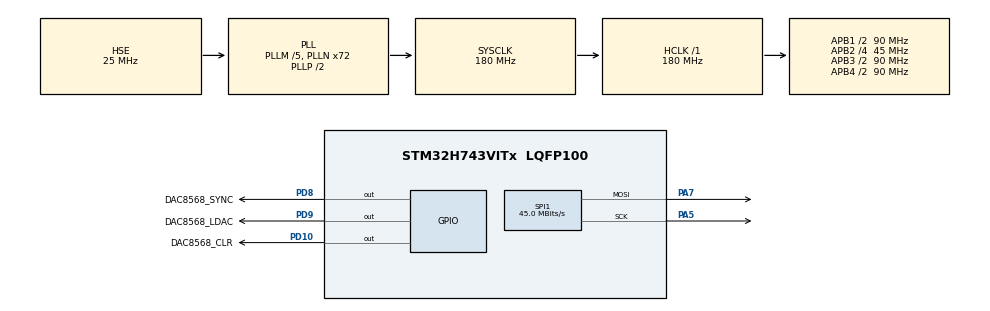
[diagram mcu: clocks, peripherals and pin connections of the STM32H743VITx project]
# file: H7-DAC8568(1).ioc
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CORTEX_M7.default_mode_Activation=0
Mcu.Family=STM32H7
Mcu.Name=STM32H743VITx
Mcu.Package=LQFP100
NVIC.PriorityGroup=NVIC_PRIORITYGROUP_4
PA13\ (JTMS/SWDIO).Mode=Serial_Wire
PA13\ (JTMS/SWDIO).Signal=DEBUG_JTMS-SWDIO
PA14\ (JTCK/SWCLK).Mode=Serial_Wire
PA14\ (JTCK/SWCLK).Signal=DEBUG_JTCK-SWCLK
PA5.GPIO_Speed=GPIO_SPEED_FREQ_VERY_HIGH
PA5.Mode=TX_Only_Simplex_Unidirect_Master
PA5.Signal=SPI1_SCK
PA7.GPIO_Speed=GPIO_SPEED_FREQ_VERY_HIGH
PA7.Mode=TX_Only_Simplex_Unidirect_Master
PA7.Signal=SPI1_MOSI
PD10.GPIO_Label=DAC8568_CLR
PD10.GPIO_Speed=GPIO_SPEED_FREQ_VERY_HIGH
PD10.PinState=GPIO_PIN_RESET
PD10.Signal=GPIO_Output
PD8.GPIO_Label=DAC8568_SYNC
PD8.GPIO_Speed=GPIO_SPEED_FREQ_VERY_HIGH
PD8.PinState=GPIO_PIN_RESET
PD8.Signal=GPIO_Output
PD9.GPIO_Label=DAC8568_LDAC
PD9.GPIO_Speed=GPIO_SPEED_FREQ_VERY_HIGH
PD9.PinState=GPIO_PIN_RESET
PD9.Signal=GPIO_Output
PH0-OSC_IN\ (PH0).Mode=HSE-External-Oscillator
PH0-OSC_IN\ (PH0).Signal=RCC_OSC_IN
PH1-OSC_OUT\ (PH1).Mode=HSE-External-Oscillator
PH1-OSC_OUT\ (PH1).Signal=RCC_OSC_OUT
ProjectManager.HeapSize=0x400
ProjectManager.StackSize=0x1500
ProjectManager.TargetToolchain=MDK-ARM V5.32
RCC.ADCFreq_Value=50390625
RCC.APB1Freq_Value=90000000
RCC.APB2Freq_Value=45000000
RCC.APB3Freq_Value=90000000
RCC.APB4Freq_Value=90000000
RCC.CortexFreq_Value=180000000
RCC.D1PPRE=RCC_APB3_DIV2
RCC.D2PPRE1=RCC_APB1_DIV2
RCC.D2PPRE2=RCC_APB2_DIV4
RCC.D3PPRE=RCC_APB4_DIV2
RCC.DIVM1=5
RCC.DIVN1=72
RCC.DIVQ1=4
RCC.DIVR1=12
RCC.HCLKFreq_Value=180000000
RCC.PLL2FRACN=0
RCC.PLL3FRACN=0
RCC.PLLFRACN=0
RCC.PLLSourceVirtual=RCC_PLLSOURCE_HSE
RCC.SYSCLKFreq_VALUE=180000000
RCC.SYSCLKSource=RCC_SYSCLKSOURCE_PLLCLK
RCC.USBFreq_Value=90000000
SPI1.BaudRatePrescaler=SPI_BAUDRATEPRESCALER_2
SPI1.CLKPhase=SPI_PHASE_2EDGE
SPI1.CalculateBaudRate=45.0 MBits/s
SPI1.DataSize=SPI_DATASIZE_8BIT
SPI1.Direction=SPI_DIRECTION_2LINES_TXONLY
SPI1.Mode=SPI_MODE_MASTER
SPI1.NSSPMode=SPI_NSS_PULSE_DISABLE
SPI1.VirtualType=VM_MASTER
VP_MEMORYMAP_VS_MEMORYMAP.Mode=CurAppReg
board=custom

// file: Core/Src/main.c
/* USER CODE BEGIN Header */
/**
  ******************************************************************************
  * @file           : main.c
  * @brief          : Main program body
  ******************************************************************************
  * @attention
  *
  * Copyright (c) 2025 STMicroelectronics.
  * All rights reserved.
  *
  * This software is licensed under terms that can be found in the LICENSE file
  * in the root directory of this software component.
  * If no LICENSE file comes with this software, it is provided AS-IS.
  *
  ******************************************************************************
  */
/* USER CODE END Header */
#include "main.h"
#include "memorymap.h"
#include "spi.h"
#include "gpio.h"

/* USER CODE BEGIN Includes */
#include "dac8568.h"
#include <stdio.h>
/* USER CODE END Includes */

/* USER CODE BEGIN PV */
		// 在main.c中添加测试代码
uint8_t test_data[4] = {0x12,0x34,0x56,0x78};
/* USER CODE END PV */

void SystemClock_Config(void);
/* USER CODE BEGIN PFP */
void SPI_Test(void);
/* USER CODE END PFP */

int main(void)
{

  /* MCU Configuration--------------------------------------------------------*/

  /* Reset of all peripherals, Initializes the Flash interface and the Systick. */
  HAL_Init();

  /* Configure the system clock */
  SystemClock_Config();

  /* Initialize all configured peripherals */
  MX_GPIO_Init();
  MX_SPI1_Init();
  /* USER CODE BEGIN 2 */
	__HAL_SPI_ENABLE(&hspi1);
//	SPI_Test();
#if DAC8568_VERSION
  /* ��ȡ�������� ��10V���Ҳ� */
  double data_wave[500] = {0};
  double temp_f = 2 * 3.1415926535 / (sizeof(data_wave) / sizeof(double));
  for (int i = 0; i < sizeof(data_wave) / sizeof(double); i++) {
    data_wave[i] = MAX_VOLTAGE * sin(temp_f * i);
  }
#else
  /* ��ȡ�������� ��5V���Ҳ� */
  double data_wave[500] = {0};
  double temp_f = 2 * 3.1415926535 / (sizeof(data_wave) / sizeof(double));
  for (int i = 0; i < sizeof(data_wave) / sizeof(double); i++) {
    data_wave[i] = MAX_VOLTAGE * sin(temp_f * i);
  }
#endif
  DAC8568_Init();
  DAC8568_Reset();
  DAC8568_Internal_Reference_Config(true);
#if DAC8568_VERSION
  /* ͨ��A���10V��ѹ */
  DAC8568_Set_Direct_Current(DAC_Channel_A, MAX_VOLTAGE);
#else
  /* ͨ��A���5V��ѹ */
  DAC8568_Set_Direct_Current(DAC_Channel_A, MAX_VOLTAGE);

#endif
  /* USER CODE END 2 */

  /* Infinite loop */
  /* USER CODE BEGIN WHILE */
  while (1)
  {
DAC8568_Set_Channel_Wave(DAC_Channel_B, data_wave,
                             sizeof(data_wave) / sizeof(double));

//  HAL_GPIO_WritePin(DAC8568_SYNC_GPIO_Port, DAC8568_SYNC_Pin, GPIO_PIN_RESET);
//  HAL_SPI_Transmit(&hspi1, test_data, 4, 100);
//  HAL_GPIO_WritePin(DAC8568_SYNC_GPIO_Port, DAC8568_SYNC_Pin, GPIO_PIN_SET);
//  HAL_Delay(1); // 添加可见间隔

    /* USER CODE END WHILE */

  }
}

void SystemClock_Config(void)
{
  RCC_OscInitTypeDef RCC_OscInitStruct = {0};
  RCC_ClkInitTypeDef RCC_ClkInitStruct = {0};

  /** Supply configuration update enable
  */
  HAL_PWREx_ConfigSupply(PWR_LDO_SUPPLY);

  /** Configure the main internal regulator output voltage
  */
  __HAL_PWR_VOLTAGESCALING_CONFIG(PWR_REGULATOR_VOLTAGE_SCALE3);

  while(!__HAL_PWR_GET_FLAG(PWR_FLAG_VOSRDY)) {}

  /** Initializes the RCC Oscillators according to the specified parameters
  * in the RCC_OscInitTypeDef structure.
  */
  RCC_OscInitStruct.OscillatorType = RCC_OSCILLATORTYPE_HSE;
  RCC_OscInitStruct.HSEState = RCC_HSE_ON;
  RCC_OscInitStruct.PLL.PLLState = RCC_PLL_ON;
  RCC_OscInitStruct.PLL.PLLSource = RCC_PLLSOURCE_HSE;
  RCC_OscInitStruct.PLL.PLLM = 5;
  RCC_OscInitStruct.PLL.PLLN = 72;
  RCC_OscInitStruct.PLL.PLLP = 2;
  RCC_OscInitStruct.PLL.PLLQ = 4;
  RCC_OscInitStruct.PLL.PLLR = 12;
  RCC_OscInitStruct.PLL.PLLRGE = RCC_PLL1VCIRANGE_2;
  RCC_OscInitStruct.PLL.PLLVCOSEL = RCC_PLL1VCOWIDE;
  RCC_OscInitStruct.PLL.PLLFRACN = 0;
  if (HAL_RCC_OscConfig(&RCC_OscInitStruct) != HAL_OK)
  {
    Error_Handler();
  }

  /** Initializes the CPU, AHB and APB buses clocks
  */
  RCC_ClkInitStruct.ClockType = RCC_CLOCKTYPE_HCLK|RCC_CLOCKTYPE_SYSCLK
                              |RCC_CLOCKTYPE_PCLK1|RCC_CLOCKTYPE_PCLK2
                              |RCC_CLOCKTYPE_D3PCLK1|RCC_CLOCKTYPE_D1PCLK1;
  RCC_ClkInitStruct.SYSCLKSource = RCC_SYSCLKSOURCE_PLLCLK;
  RCC_ClkInitStruct.SYSCLKDivider = RCC_SYSCLK_DIV1;
  RCC_ClkInitStruct.AHBCLKDivider = RCC_HCLK_DIV1;
  RCC_ClkInitStruct.APB3CLKDivider = RCC_APB3_DIV2;
  RCC_ClkInitStruct.APB1CLKDivider = RCC_APB1_DIV2;
  RCC_ClkInitStruct.APB2CLKDivider = RCC_APB2_DIV4;
  RCC_ClkInitStruct.APB4CLKDivider = RCC_APB4_DIV2;

  if (HAL_RCC_ClockConfig(&RCC_ClkInitStruct, FLASH_LATENCY_3) != HAL_OK)
  {
    Error_Handler();
  }
}

/* USER CODE BEGIN 4 */
//void SPI_Test(void)
//{
//    uint8_t test_data[4] = {0xAA, 0x55, 0xAA, 0x55};
//
//    printf("--- SPI Test Start ---\r\n");
//    printf("SPI1->CR1: 0x%08lX\r\n", SPI1->CR1);
//    printf("SPI1->SR: 0x%08lX\r\n", SPI1->SR);
//
//    while(1) {
//        // 手动控制SYNC（片选）
//        HAL_GPIO_WritePin(DAC8568_SYNC_GPIO_Port, DAC8568_SYNC_Pin, GPIO_PIN_RESET);
//
//        // 检查SPI状态
//        if (hspi1.State != HAL_SPI_STATE_READY) {
//            printf("SPI Busy! State: %d\r\n", hspi1.State);
//        }
//
//        // 发送测试数据
//        HAL_StatusTypeDef status = HAL_SPI_Transmit(&hspi1, test_data, 4, 100);
//
//        if (status != HAL_OK) {
//            printf("SPI Error: %d, ErrorCode: 0x%08lX\r\n", status, hspi1.ErrorCode);
//        }
//
//        // 释放片选
//        HAL_GPIO_WritePin(DAC8568_SYNC_GPIO_Port, DAC8568_SYNC_Pin, GPIO_PIN_SET);
//
//        // 延时便于观察
//        HAL_Delay(10);
//
//        // 显示传输计数
//        static uint32_t counter = 0;
//        if ((counter++ % 100) == 0) {
//            printf("Transfers: %lu, SR: 0x%08lX\r\n", counter, SPI1->SR);
//        }
//    }
//}

/* USER CODE END 4 */

void Error_Handler(void)
{
  __disable_irq();
  while (1)
  {
  }
}
